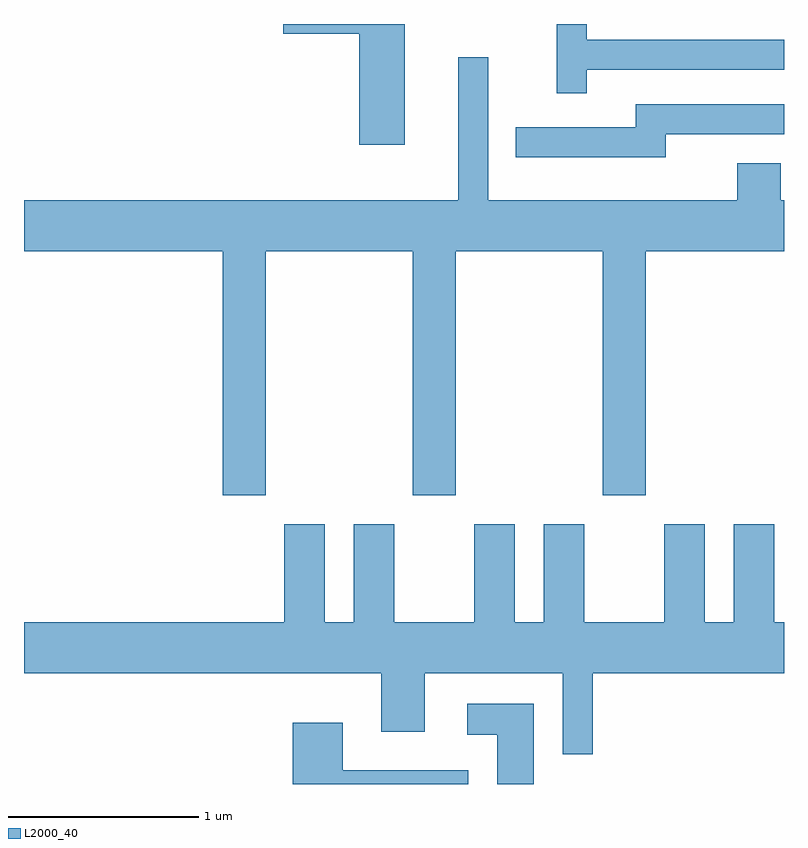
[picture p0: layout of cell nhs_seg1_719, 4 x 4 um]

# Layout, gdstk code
import gdstk
lib = gdstk.Library(unit=1e-6, precision=1e-09)
def P(c, l, *ps):  # polygons
    for p in ps: c.add(gdstk.Polygon(p, *l))
L2000_40 = (2000, 40)

nhs_seg1_719 = lib.new_cell('nhs_seg1_719')
P(nhs_seg1_719, L2000_40, [(209.614,849.712),(208.976,849.712),(208.976,849.661),(209.376,849.661),(209.376,849.076),(209.614,849.076)],
  [(210.574,849.471),(211.611,849.471),(211.611,849.629),(210.574,849.629),(210.574,849.712),(210.416,849.712),(210.416,849.348),(210.574,849.348)],
  [(208.884,848.516),(209.656,848.516),(209.656,847.231),(209.884,847.231),(209.884,848.516),(210.656,848.516),(210.656,847.231),(210.884,847.231),(210.884,848.516),(211.611,848.516),(211.611,848.784),(211.594,848.784),(211.594,848.979),(211.366,848.979),(211.366,848.784),(210.054,848.784),(210.054,849.538),(209.896,849.538),(209.896,848.784),(207.611,848.784),(207.611,848.516),(208.656,848.516),(208.656,847.231),(208.884,847.231)],
  [(210.989,849.131),(211.611,849.131),(211.611,849.289),(210.831,849.289),(210.831,849.169),(210.198,849.169),(210.198,849.011),(210.989,849.011)],
  [(210.604,846.296),(211.611,846.296),(211.611,846.564),(211.559,846.564),(211.559,847.079),(211.346,847.079),(211.346,846.564),(211.194,846.564),(211.194,847.079),(210.981,847.079),(210.981,846.564),(210.559,846.564),(210.559,847.079),(210.346,847.079),(210.346,846.564),(210.194,846.564),(210.194,847.079),(209.981,847.079),(209.981,846.564),(209.559,846.564),(209.559,847.079),(209.346,847.079),(209.346,846.564),(209.194,846.564),(209.194,847.079),(208.981,847.079),(208.981,846.564),(207.611,846.564),(207.611,846.296),(209.491,846.296),(209.491,845.986),(209.719,845.986),(209.719,846.296),(210.446,846.296),(210.446,845.868),(210.604,845.868)],
  [(210.294,846.134),(209.943,846.134),(209.943,845.971),(210.101,845.971),(210.101,845.712),(210.294,845.712)],
  [(209.949,845.784),(209.289,845.784),(209.289,846.034),(209.026,846.034),(209.026,845.712),(209.949,845.712)])

lib.write_gds('nhs_seg1_719.gds')
